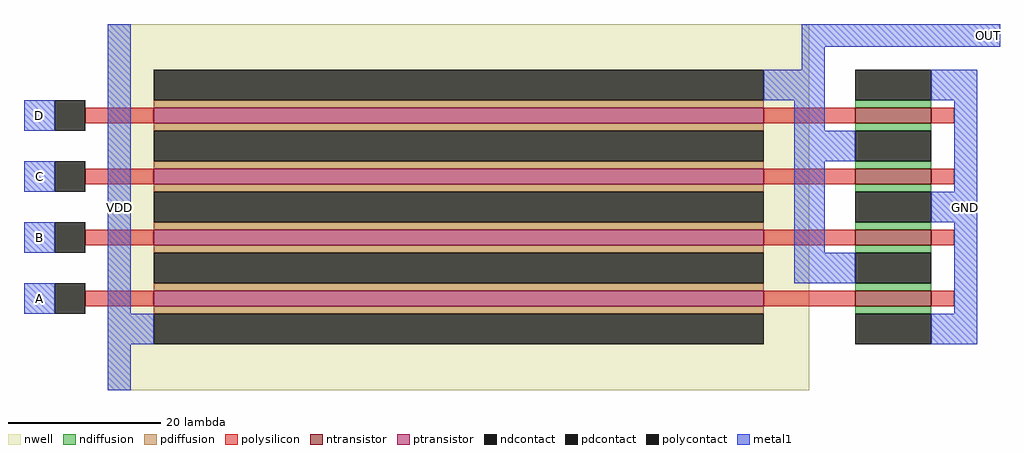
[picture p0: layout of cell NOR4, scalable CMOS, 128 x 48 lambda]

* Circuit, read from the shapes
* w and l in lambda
.subckt NOR4 A B C D GND OUT VDD
M1 OUT A GND VSUBS nfet w=10 l=2
M2 GND B OUT VSUBS nfet w=10 l=2
M3 OUT C GND VSUBS nfet w=10 l=2
M4 GND D OUT VSUBS nfet w=10 l=2
M5 n1 A VDD n2 pfet w=80 l=2
M6 n3 B n1 n2 pfet w=80 l=2
M7 n4 C n3 n2 pfet w=80 l=2
M8 OUT D n4 n2 pfet w=80 l=2
.ends

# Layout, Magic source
magic
tech scmos
<< nwell >>
rect 5 -9 97 39
<< polysilicon >>
rect 2 26 11 28
rect 91 26 103 28
rect 113 26 116 28
rect 2 18 11 20
rect 91 18 103 20
rect 113 18 116 20
rect 2 10 11 12
rect 91 10 103 12
rect 113 10 116 12
rect 2 2 11 4
rect 91 2 103 4
rect 113 2 116 4
<< ndiffusion >>
rect 103 28 113 29
rect 103 25 113 26
rect 103 20 113 21
rect 103 17 113 18
rect 103 12 113 13
rect 103 9 113 10
rect 103 4 113 5
rect 103 1 113 2
<< pdiffusion >>
rect 11 28 91 29
rect 11 25 91 26
rect 11 20 91 21
rect 11 17 91 18
rect 11 12 91 13
rect 11 9 91 10
rect 11 4 91 5
rect 11 1 91 2
<< metal1 >>
rect -6 25 -2 29
rect -6 17 -2 21
rect -6 9 -2 13
rect -6 1 -2 5
rect 5 1 8 39
rect 96 36 122 39
rect 96 33 99 36
rect 91 29 99 33
rect 113 29 119 33
rect 95 25 99 29
rect 95 21 103 25
rect 95 9 99 21
rect 116 17 119 29
rect 113 13 119 17
rect 95 5 103 9
rect 116 1 119 13
rect 5 -3 11 1
rect 113 -3 119 1
rect 5 -9 8 -3
<< ntransistor >>
rect 103 26 113 28
rect 103 18 113 20
rect 103 10 113 12
rect 103 2 113 4
<< ptransistor >>
rect 11 26 91 28
rect 11 18 91 20
rect 11 10 91 12
rect 11 2 91 4
<< polycontact >>
rect -2 25 2 29
rect -2 17 2 21
rect -2 9 2 13
rect -2 1 2 5
<< ndcontact >>
rect 103 29 113 33
rect 103 21 113 25
rect 103 13 113 17
rect 103 5 113 9
rect 103 -3 113 1
<< pdcontact >>
rect 11 29 91 33
rect 11 21 91 25
rect 11 13 91 17
rect 11 5 91 9
rect 11 -3 91 1
<< labels >>
rlabel metal1 -6 1 -2 5 3 A
rlabel metal1 -6 9 -2 13 3 B
rlabel metal1 -6 17 -2 21 3 C
rlabel metal1 -6 25 -2 29 3 D
rlabel metal1 5 -9 8 39 7 VDD
rlabel metal1 116 -3 119 33 7 GND
rlabel metal1 119 36 122 39 6 OUT
<< end >>
